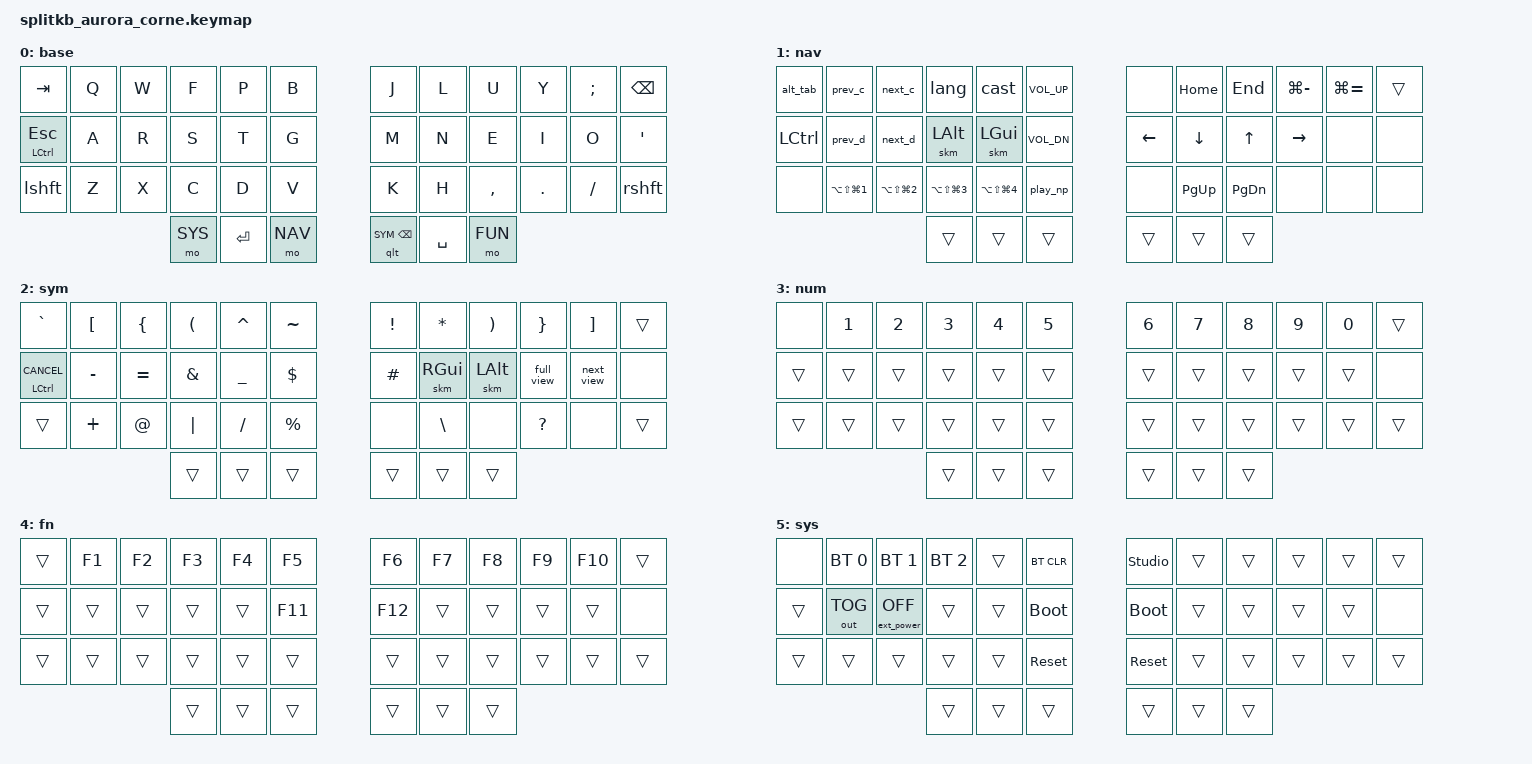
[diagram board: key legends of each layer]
/*
 * Copyright (c) 2020 The ZMK Contributors
 *
 * SPDX-License-Identifier: MIT
 */

#include <behaviors.dtsi>
#include <dt-bindings/zmk/keys.h>
#include <dt-bindings/zmk/bt.h>
#include <dt-bindings/zmk/outputs.h>
#include <dt-bindings/zmk/ext_power.h>
#include <behaviors/num_word.dtsi>

#define DEF 0
#define NAV 1
#define SYM 2
#define NUM 3
#define FUN 4
#define SYS 5

#include "zmk-helpers/helper.h"
#include "zmk-helpers/key-labels/42.h"

#include "behaviors.dtsi"
#include "macros.dtsi"

#define XXX &none
#define ___ &trans

#define CTL_ESC &mt LCTL ESC
#define CTL_CAN &mt LCTL K_CANCEL
#define SMART_NUM &smart_num NUM 0
#define CANCEL &kp K_CANCEL // cancel caps-word and num-word
#define LT_BSPC &qlt SYM BSPC
#define UNLOCK &studio_unlock

#define WS_PREV &kp LA(LS(LG(LEFT))) // previous workspace 
#define WS_NEXT &kp LA(LS(LG(RIGHT))) // next workspace 
#define WS_1 &kp LA(LS(LG(N1))) // workspace 1
#define WS_2 &kp LA(LS(LG(N2))) // workspace 2
#define WS_3 &kp LA(LS(LG(N3))) // workspace 3
#define WS_4 &kp LA(LS(LG(N4))) // workspace 4
#define ZOOM_IN &kp LG(EQUAL)
#define ZOOM_OUT &kp LG(MINUS)
#define VCC_OFF &ext_power EP_OFF 

/* Keymap */
ZMK_CONDITIONAL_LAYER(num, NAV SYM, NUM)  // NAV + SYM --> NUM

ZMK_LAYER(base,
//╭───────────╮ ╭─────────────┬─────────────┬─────────────┬─────────────┬─────────────╮  ╭─────────────┬─────────────┬─────────────┬─────────────┬─────────────╮ ╭───────────╮
    &kp TAB       &kp Q         &kp W         &kp F         &kp P         &kp B            &kp J         &kp L         &kp U         &kp Y         &kp SEMI        &kp BSPC
//├───────────┤ ├─────────────┼─────────────┼─────────────┼─────────────┼─────────────┤  ├─────────────┼─────────────┼─────────────┼─────────────┼─────────────┤ ├───────────┤
    CTL_ESC       &kp A         &kp R         &kp S         &kp T         &kp G            &kp M         &kp N         &kp E         &kp I         &kp O           &kp SQT
//├───────────┤ ├─────────────┼─────────────┼─────────────┼─────────────┼─────────────┤  ├─────────────┼─────────────┼─────────────┼─────────────┼─────────────┤ ├───────────┤
    &lshft        &kp Z         &kp X         &kp C         &kp D         &kp V            &kp K         &kp H         &kp COMMA     &kp DOT       &kp FSLH        &rshft
//╰───────────╯ ╰─────────────┼─────────────┴─────────────┼─────────────┼─────────────┤  ├─────────────┼─────────────┼─────────────┴───────────────────────────╯ ╰───────────╯
                                              &mo SYS       &kp RET       &mo NAV          LT_BSPC       &kp SPACE     &mo FUN
//                                          ╰─────────────┴─────────────┴─────────────╯  ╰─────────────┴─────────────┴─────────────╯
)

ZMK_LAYER(nav,
//╭───────────╮ ╭─────────────┬─────────────┬─────────────┬─────────────┬─────────────╮  ╭─────────────┬─────────────┬─────────────┬─────────────┬─────────────╮ ╭───────────╮
    &alt_tab      &prev_c       &next_c       &lang         &cast         &kp C_VOL_UP     XXX           &kp HOME      &kp END       ZOOM_OUT      ZOOM_IN         ___
//├───────────┤ ├─────────────┼─────────────┼─────────────┼─────────────┼─────────────┤  ├─────────────┼─────────────┼─────────────┼─────────────┼─────────────┤ ├───────────┤
    &kp LCTL      &prev_d       &next_d       &skm LALT     &skm LGUI     &kp C_VOL_DN     &kp LEFT      &kp DOWN      &kp UP        &kp RIGHT     XXX             XXX
//├───────────┤ ├─────────────┼─────────────┼─────────────┼─────────────┼─────────────┤  ├─────────────┼─────────────┼─────────────┼─────────────┼─────────────┤ ├───────────┤
    XXX           WS_1          WS_2          WS_3          WS_4          &play_np         XXX           &kp PG_UP     &kp PG_DN     XXX           XXX             XXX
//╰───────────╯ ╰─────────────┼─────────────┴─────────────┼─────────────┼─────────────┤  ├─────────────┼─────────────┼─────────────┴───────────────────────────╯ ╰───────────╯
                                              ___           ___           ___              ___           ___           ___
//                                          ╰─────────────┴─────────────┴─────────────╯  ╰─────────────┴─────────────┴─────────────╯
)

ZMK_LAYER(sym,
//╭───────────╮ ╭─────────────┬─────────────┬─────────────┬─────────────┬─────────────╮  ╭─────────────┬─────────────┬─────────────┬─────────────┬─────────────╮ ╭───────────╮
    &kp GRAVE     &kp LBKT      &kp LBRC      &kp LPAR      &kp CARET     &kp TILDE        &kp EXCL      &kp STAR      &kp RPAR      &kp RBRC      &kp RBKT        ___
//├───────────┤ ├─────────────┼─────────────┼─────────────┼─────────────┼─────────────┤  ├─────────────┼─────────────┼─────────────┼─────────────┼─────────────┤ ├───────────┤
    CTL_CAN       &kp MINUS     &kp EQUAL     &kp AMPS      &kp UNDER     &kp DLLR         &kp HASH      &skm RGUI     &skm LALT     &full_view    &next_view      XXX
//├───────────┤ ├─────────────┼─────────────┼─────────────┼─────────────┼─────────────┤  ├─────────────┼─────────────┼─────────────┼─────────────┼─────────────┤ ├───────────┤
    ___           &kp PLUS      &kp AT        &kp PIPE      &kp FSLH      &kp PRCNT        XXX           &kp BSLH      XXX           &kp QMARK     XXX             ___
//╰───────────╯ ╰─────────────┼─────────────┴─────────────┼─────────────┼─────────────┤  ├─────────────┼─────────────┼─────────────┴───────────────────────────╯ ╰───────────╯
                                              ___           ___           ___              ___           ___           ___
//                                          ╰─────────────┴─────────────┴─────────────╯  ╰─────────────┴─────────────┴─────────────╯
)

ZMK_LAYER(num,
//╭───────────╮ ╭─────────────┬─────────────┬─────────────┬─────────────┬─────────────╮  ╭─────────────┬─────────────┬─────────────┬─────────────┬─────────────╮ ╭───────────╮
    XXX           &kp N1        &kp N2        &kp N3        &kp N4        &kp N5           &kp N6        &kp N7        &kp N8        &kp N9        &kp N0          ___
//├───────────┤ ├─────────────┼─────────────┼─────────────┼─────────────┼─────────────┤  ├─────────────┼─────────────┼─────────────┼─────────────┼─────────────┤ ├───────────┤
    ___           ___           ___           ___           ___           ___              ___           ___           ___           ___           ___             XXX
//├───────────┤ ├─────────────┼─────────────┼─────────────┼─────────────┼─────────────┤  ├─────────────┼─────────────┼─────────────┼─────────────┼─────────────┤ ├───────────┤
    ___           ___           ___           ___           ___           ___              ___           ___           ___           ___           ___             ___
//╰───────────╯ ╰─────────────┼─────────────┴─────────────┼─────────────┼─────────────┤  ├─────────────┼─────────────┼─────────────┴───────────────────────────╯ ╰───────────╯
                                              ___           ___           ___              ___           ___           ___ 
//                                          ╰─────────────┴─────────────┴─────────────╯  ╰─────────────┴─────────────┴─────────────╯
)

ZMK_LAYER(fn,
//╭───────────╮ ╭─────────────┬─────────────┬─────────────┬─────────────┬─────────────╮  ╭─────────────┬─────────────┬─────────────┬─────────────┬─────────────╮ ╭───────────╮
    ___           &kp F1        &kp F2        &kp F3        &kp F4        &kp F5           &kp F6        &kp F7        &kp F8        &kp F9        &kp F10         ___
//├───────────┤ ├─────────────┼─────────────┼─────────────┼─────────────┼─────────────┤  ├─────────────┼─────────────┼─────────────┼─────────────┼─────────────┤ ├───────────┤
    ___           ___           ___           ___           ___           &kp F11          &kp F12       ___           ___           ___           ___             XXX
//├───────────┤ ├─────────────┼─────────────┼─────────────┼─────────────┼─────────────┤  ├─────────────┼─────────────┼─────────────┼─────────────┼─────────────┤ ├───────────┤
    ___           ___           ___           ___           ___           ___              ___           ___           ___           ___           ___             ___
//╰───────────╯ ╰─────────────┼─────────────┴─────────────┼─────────────┼─────────────┤  ├─────────────┼─────────────┼─────────────┴───────────────────────────╯ ╰───────────╯
                                              ___           ___           ___              ___           ___           ___ 
//                                          ╰─────────────┴─────────────┴─────────────╯  ╰─────────────┴─────────────┴─────────────╯
)

ZMK_LAYER(sys,
//╭───────────╮ ╭─────────────┬─────────────┬─────────────┬─────────────┬─────────────╮  ╭─────────────┬─────────────┬─────────────┬─────────────┬─────────────╮ ╭───────────╮
    XXX           &bt BT_SEL 0  &bt BT_SEL 1  &bt BT_SEL 2  ___           &bt BT_CLR       UNLOCK        ___           ___           ___           ___             ___
//├───────────┤ ├─────────────┼─────────────┼─────────────┼─────────────┼─────────────┤  ├─────────────┼─────────────┼─────────────┼─────────────┼─────────────┤ ├───────────┤
    ___           &out OUT_TOG  VCC_OFF       ___           ___           &bootloader      &bootloader   ___           ___           ___           ___             XXX
//├───────────┤ ├─────────────┼─────────────┼─────────────┼─────────────┼─────────────┤  ├─────────────┼─────────────┼─────────────┼─────────────┼─────────────┤ ├───────────┤
    ___           ___           ___           ___           ___           &sys_reset       &sys_reset    ___           ___           ___           ___             ___
//╰───────────╯ ╰─────────────┼─────────────┴─────────────┼─────────────┼─────────────┤  ├─────────────┼─────────────┼─────────────┴───────────────────────────╯ ╰───────────╯
                                              ___           ___           ___              ___           ___           ___
//                                          ╰─────────────┴─────────────┴─────────────╯  ╰─────────────┴─────────────┴─────────────╯
)
/* vim: set ft=c tw=174: */
